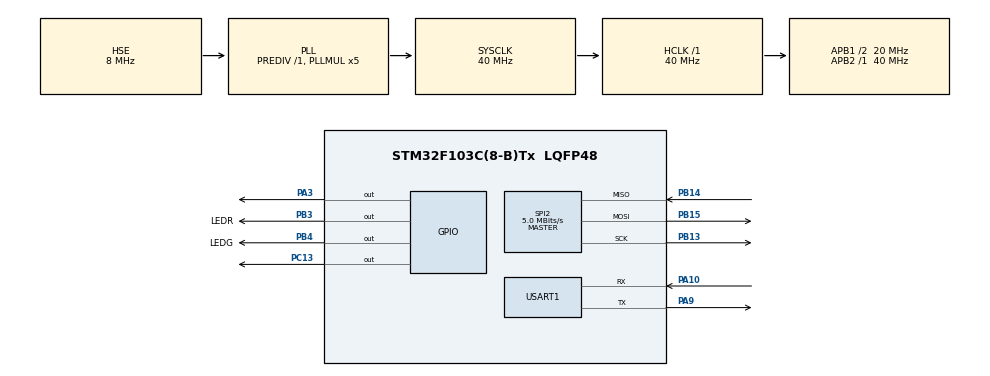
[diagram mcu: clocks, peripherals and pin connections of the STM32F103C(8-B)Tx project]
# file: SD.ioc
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Dma.Request0=USART1_RX
Dma.USART1_RX.0.Direction=DMA_PERIPH_TO_MEMORY
Dma.USART1_RX.0.Instance=DMA1_Channel5
Dma.USART1_RX.0.MemDataAlignment=DMA_MDATAALIGN_BYTE
Dma.USART1_RX.0.MemInc=DMA_MINC_ENABLE
Dma.USART1_RX.0.Mode=DMA_NORMAL
Dma.USART1_RX.0.PeriphDataAlignment=DMA_PDATAALIGN_BYTE
Dma.USART1_RX.0.PeriphInc=DMA_PINC_DISABLE
Dma.USART1_RX.0.Priority=DMA_PRIORITY_LOW
FATFS._MAX_SS=4096
FATFS._USE_LFN=1
Mcu.Family=STM32F1
Mcu.Name=STM32F103C(8-B)Tx
Mcu.Package=LQFP48
NVIC.DMA1_Channel5_IRQn=true\:0\:0\:false\:false\:true\:false\:true
NVIC.PriorityGroup=NVIC_PRIORITYGROUP_4
NVIC.TIM2_IRQn=true\:0\:0\:false\:false\:true\:true\:true
NVIC.USART1_IRQn=true\:0\:0\:false\:false\:true\:true\:true
PA10.Mode=Asynchronous
PA10.Signal=USART1_RX
PA13.Mode=Serial_Wire
PA13.Signal=SYS_JTMS-SWDIO
PA14.Mode=Serial_Wire
PA14.Signal=SYS_JTCK-SWCLK
PA3.GPIO_Speed=GPIO_SPEED_FREQ_MEDIUM
PA3.PinState=GPIO_PIN_RESET
PA3.Signal=GPIO_Output
PA9.Mode=Asynchronous
PA9.Signal=USART1_TX
PB13.Mode=Full_Duplex_Master
PB13.Signal=SPI2_SCK
PB14.Mode=Full_Duplex_Master
PB14.Signal=SPI2_MISO
PB15.Mode=Full_Duplex_Master
PB15.Signal=SPI2_MOSI
PB3.GPIO_Label=LEDR
PB3.Signal=GPIO_Output
PB4.GPIO_Label=LEDG
PB4.Signal=GPIO_Output
PC13-TAMPER-RTC.GPIO_Speed=GPIO_SPEED_FREQ_MEDIUM
PC13-TAMPER-RTC.Signal=GPIO_Output
PD0-OSC_IN.Mode=HSE-External-Oscillator
PD0-OSC_IN.Signal=RCC_OSC_IN
PD1-OSC_OUT.Mode=HSE-External-Oscillator
PD1-OSC_OUT.Signal=RCC_OSC_OUT
ProjectManager.HeapSize=0x200
ProjectManager.StackSize=0x400
ProjectManager.TargetToolchain=MDK-ARM V5
RCC.AHBFreq_Value=40000000
RCC.APB1CLKDivider=RCC_HCLK_DIV2
RCC.APB1Freq_Value=20000000
RCC.APB1TimFreq_Value=40000000
RCC.APB2Freq_Value=40000000
RCC.APB2TimFreq_Value=40000000
RCC.HCLKFreq_Value=40000000
RCC.PLLMUL=RCC_PLL_MUL5
RCC.PLLSourceVirtual=RCC_PLLSOURCE_HSE
RCC.SYSCLKFreq_VALUE=40000000
RCC.SYSCLKSource=RCC_SYSCLKSOURCE_PLLCLK
RCC.USBFreq_Value=40000000
SPI2.BaudRatePrescaler=SPI_BAUDRATEPRESCALER_4
SPI2.CalculateBaudRate=5.0 MBits/s
SPI2.Direction=SPI_DIRECTION_2LINES
SPI2.Mode=SPI_MODE_MASTER
SPI2.VirtualType=VM_MASTER
TIM2.Period=10
TIM2.Prescaler=39999
USART1.VirtualMode=VM_ASYNC
VP_FATFS_VS_Generic.Mode=User_defined
VP_TIM2_VS_ClockSourceINT.Mode=Internal
board=custom

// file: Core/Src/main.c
/* USER CODE BEGIN Header */
/**
  ******************************************************************************
  * @file           : main.c
  * @brief          : Main program body
  ******************************************************************************
  * @attention
  *
  * <h2><center>&copy; Copyright (c) 2021 STMicroelectronics.
  * All rights reserved.</center></h2>
  *
  * This software component is licensed by ST under Ultimate Liberty license
  * SLA0044, the "License"; You may not use this file except in compliance with
  * the License. You may obtain a copy of the License at:
  *                             www.st.com/SLA0044
  *
  ******************************************************************************
  */
/* USER CODE END Header */
#include "main.h"
#include "fatfs.h"

/* USER CODE BEGIN Includes */
#include "sd.h"
#include <string.h>
#include <stdlib.h>
#include <stdint.h>
#include <stdio.h>
/* USER CODE END Includes */

SPI_HandleTypeDef hspi2;

TIM_HandleTypeDef htim2;

UART_HandleTypeDef huart1;
DMA_HandleTypeDef hdma_usart1_rx;

/* USER CODE BEGIN PV */
volatile uint16_t Timer1=0;
uint8_t sect[32];
char buffer1[32] ="Helloworld"; //password
char str[32]={0};
/* USER CODE END PV */

void SystemClock_Config(void);
static void MX_GPIO_Init(void);
static void MX_DMA_Init(void);
static void MX_SPI2_Init(void);
static void MX_TIM2_Init(void);
static void MX_USART1_UART_Init(void);

int main(void)
{
  /* USER CODE BEGIN 1 */
uint16_t i,j;
	uint8_t m=0;

  /* USER CODE END 1 */

  /* MCU Configuration--------------------------------------------------------*/

  /* Reset of all peripherals, Initializes the Flash interface and the Systick. */
  HAL_Init();

  /* Configure the system clock */
  SystemClock_Config();

  /* Initialize all configured peripherals */
  MX_GPIO_Init();
  MX_DMA_Init();
  MX_SPI2_Init();
  MX_TIM2_Init();
  MX_USART1_UART_Init();
  MX_FATFS_Init();
  /* USER CODE BEGIN 2 */
HAL_TIM_Base_Start_IT(&htim2);
SD_PowerOn(); //
sd_ini(); //initialization
SD_Write_Block((uint8_t*)buffer1,0x0400); //write password to sd card
 SD_Read_Block(sect,0x0400); //read password from sd card
 //for(i=0;i<32;i++) HAL_UART_Transmit(&huart1,sect+i,1,-1); //show password in terminal
	//HAL_UART_Transmit(&huart1,(uint8_t*)"\r\n",2,-1);
	HAL_GPIO_WritePin(GPIOB, LEDG_Pin, GPIO_PIN_SET); //Green Led On
	HAL_UART_Transmit(&huart1,(uint8_t*)"Enter pass\r\n",10,-1); //Transmit to terminal
  /* USER CODE END 2 */

  /* Infinite loop */
  /* USER CODE BEGIN WHILE */
  while (1)
  {
		HAL_UART_Receive_IT(&huart1, (uint8_t*) str, 32); //Receive pass from terminal
		HAL_Delay(1000);
		m=0;
		if(str[0]!=0){ //if you write a pass
			m=2;
					for(i=0;i<32;i++){
				if(str[i]!=sect[i]){// compare terminal pass with the pass from sd card
					m=1;
				}
			}
		}

if (m==0){ //if no pass in terminal
HAL_GPIO_TogglePin(LEDR_GPIO_Port, LEDR_Pin);
HAL_GPIO_TogglePin(LEDG_GPIO_Port, LEDG_Pin);
HAL_Delay(1000);
}
if (m==1){//if pass are wrong
HAL_UART_Transmit(&huart1,(uint8_t*)"Bad\r\n",5,-1); //Transmit to terminal Bad
		HAL_GPIO_WritePin(GPIOB, LEDR_Pin, GPIO_PIN_SET);// turn on red led
	HAL_GPIO_WritePin(GPIOB, LEDG_Pin, GPIO_PIN_RESET);// turn off green led
}
if(m==2) {//if pass are right
	HAL_UART_Transmit(&huart1,(uint8_t*)"Good\r\n",6,-1);//Transmit to terminal Good
	HAL_GPIO_WritePin(GPIOB, LEDG_Pin, GPIO_PIN_SET);// turn on green led
	HAL_GPIO_WritePin(GPIOB, LEDR_Pin, GPIO_PIN_RESET);// turn off red led
}
		HAL_GPIO_TogglePin(GPIOC, GPIO_PIN_13);//toggle led on board
    /* USER CODE END WHILE */

  }
}

void SystemClock_Config(void)
{
  RCC_OscInitTypeDef RCC_OscInitStruct = {0};
  RCC_ClkInitTypeDef RCC_ClkInitStruct = {0};

  /** Initializes the RCC Oscillators according to the specified parameters
  * in the RCC_OscInitTypeDef structure.
  */
  RCC_OscInitStruct.OscillatorType = RCC_OSCILLATORTYPE_HSE;
  RCC_OscInitStruct.HSEState = RCC_HSE_ON;
  RCC_OscInitStruct.HSEPredivValue = RCC_HSE_PREDIV_DIV1;
  RCC_OscInitStruct.HSIState = RCC_HSI_ON;
  RCC_OscInitStruct.PLL.PLLState = RCC_PLL_ON;
  RCC_OscInitStruct.PLL.PLLSource = RCC_PLLSOURCE_HSE;
  RCC_OscInitStruct.PLL.PLLMUL = RCC_PLL_MUL5;
  if (HAL_RCC_OscConfig(&RCC_OscInitStruct) != HAL_OK)
  {
    Error_Handler();
  }
  /** Initializes the CPU, AHB and APB buses clocks
  */
  RCC_ClkInitStruct.ClockType = RCC_CLOCKTYPE_HCLK|RCC_CLOCKTYPE_SYSCLK
                              |RCC_CLOCKTYPE_PCLK1|RCC_CLOCKTYPE_PCLK2;
  RCC_ClkInitStruct.SYSCLKSource = RCC_SYSCLKSOURCE_PLLCLK;
  RCC_ClkInitStruct.AHBCLKDivider = RCC_SYSCLK_DIV1;
  RCC_ClkInitStruct.APB1CLKDivider = RCC_HCLK_DIV2;
  RCC_ClkInitStruct.APB2CLKDivider = RCC_HCLK_DIV1;

  if (HAL_RCC_ClockConfig(&RCC_ClkInitStruct, FLASH_LATENCY_1) != HAL_OK)
  {
    Error_Handler();
  }
}

static void MX_SPI2_Init(void)
{

  /* SPI2 parameter configuration*/
  hspi2.Instance = SPI2;
  hspi2.Init.Mode = SPI_MODE_MASTER;
  hspi2.Init.Direction = SPI_DIRECTION_2LINES;
  hspi2.Init.DataSize = SPI_DATASIZE_8BIT;
  hspi2.Init.CLKPolarity = SPI_POLARITY_LOW;
  hspi2.Init.CLKPhase = SPI_PHASE_1EDGE;
  hspi2.Init.NSS = SPI_NSS_SOFT;
  hspi2.Init.BaudRatePrescaler = SPI_BAUDRATEPRESCALER_4;
  hspi2.Init.FirstBit = SPI_FIRSTBIT_MSB;
  hspi2.Init.TIMode = SPI_TIMODE_DISABLE;
  hspi2.Init.CRCCalculation = SPI_CRCCALCULATION_DISABLE;
  hspi2.Init.CRCPolynomial = 10;
  if (HAL_SPI_Init(&hspi2) != HAL_OK)
  {
    Error_Handler();
  }

}

static void MX_TIM2_Init(void)
{

  TIM_ClockConfigTypeDef sClockSourceConfig = {0};
  TIM_MasterConfigTypeDef sMasterConfig = {0};

  htim2.Instance = TIM2;
  htim2.Init.Prescaler = 39999;
  htim2.Init.CounterMode = TIM_COUNTERMODE_UP;
  htim2.Init.Period = 10;
  htim2.Init.ClockDivision = TIM_CLOCKDIVISION_DIV1;
  htim2.Init.AutoReloadPreload = TIM_AUTORELOAD_PRELOAD_DISABLE;
  if (HAL_TIM_Base_Init(&htim2) != HAL_OK)
  {
    Error_Handler();
  }
  sClockSourceConfig.ClockSource = TIM_CLOCKSOURCE_INTERNAL;
  if (HAL_TIM_ConfigClockSource(&htim2, &sClockSourceConfig) != HAL_OK)
  {
    Error_Handler();
  }
  sMasterConfig.MasterOutputTrigger = TIM_TRGO_RESET;
  sMasterConfig.MasterSlaveMode = TIM_MASTERSLAVEMODE_DISABLE;
  if (HAL_TIMEx_MasterConfigSynchronization(&htim2, &sMasterConfig) != HAL_OK)
  {
    Error_Handler();
  }

}

static void MX_USART1_UART_Init(void)
{

  huart1.Instance = USART1;
  huart1.Init.BaudRate = 115200;
  huart1.Init.WordLength = UART_WORDLENGTH_8B;
  huart1.Init.StopBits = UART_STOPBITS_1;
  huart1.Init.Parity = UART_PARITY_NONE;
  huart1.Init.Mode = UART_MODE_TX_RX;
  huart1.Init.HwFlowCtl = UART_HWCONTROL_NONE;
  huart1.Init.OverSampling = UART_OVERSAMPLING_16;
  if (HAL_UART_Init(&huart1) != HAL_OK)
  {
    Error_Handler();
  }

}

static void MX_DMA_Init(void)
{

  /* DMA controller clock enable */
  __HAL_RCC_DMA1_CLK_ENABLE();

  /* DMA interrupt init */
  /* DMA1_Channel5_IRQn interrupt configuration */
  HAL_NVIC_SetPriority(DMA1_Channel5_IRQn, 0, 0);
  HAL_NVIC_EnableIRQ(DMA1_Channel5_IRQn);

}

static void MX_GPIO_Init(void)
{
  GPIO_InitTypeDef GPIO_InitStruct = {0};

  /* GPIO Ports Clock Enable */
  __HAL_RCC_GPIOC_CLK_ENABLE();
  __HAL_RCC_GPIOD_CLK_ENABLE();
  __HAL_RCC_GPIOA_CLK_ENABLE();
  __HAL_RCC_GPIOB_CLK_ENABLE();

  /*Configure GPIO pin Output Level */
  HAL_GPIO_WritePin(GPIOC, GPIO_PIN_13, GPIO_PIN_RESET);

  /*Configure GPIO pin Output Level */
  HAL_GPIO_WritePin(GPIOA, GPIO_PIN_3, GPIO_PIN_RESET);

  /*Configure GPIO pin Output Level */
  HAL_GPIO_WritePin(GPIOB, LEDR_Pin|LEDG_Pin, GPIO_PIN_RESET);

  /*Configure GPIO pin : PC13 */
  GPIO_InitStruct.Pin = GPIO_PIN_13;
  GPIO_InitStruct.Mode = GPIO_MODE_OUTPUT_PP;
  GPIO_InitStruct.Pull = GPIO_NOPULL;
  GPIO_InitStruct.Speed = GPIO_SPEED_FREQ_MEDIUM;
  HAL_GPIO_Init(GPIOC, &GPIO_InitStruct);

  /*Configure GPIO pin : PA3 */
  GPIO_InitStruct.Pin = GPIO_PIN_3;
  GPIO_InitStruct.Mode = GPIO_MODE_OUTPUT_PP;
  GPIO_InitStruct.Pull = GPIO_NOPULL;
  GPIO_InitStruct.Speed = GPIO_SPEED_FREQ_MEDIUM;
  HAL_GPIO_Init(GPIOA, &GPIO_InitStruct);

  /*Configure GPIO pins : LEDR_Pin LEDG_Pin */
  GPIO_InitStruct.Pin = LEDR_Pin|LEDG_Pin;
  GPIO_InitStruct.Mode = GPIO_MODE_OUTPUT_PP;
  GPIO_InitStruct.Pull = GPIO_NOPULL;
  GPIO_InitStruct.Speed = GPIO_SPEED_FREQ_LOW;
  HAL_GPIO_Init(GPIOB, &GPIO_InitStruct);

}

/* USER CODE BEGIN 4 */
//----------------------------------------------------------

void HAL_TIM_PeriodElapsedCallback(TIM_HandleTypeDef *htim)

{

if(htim==&htim2)

{

Timer1++;

}

}

//----------------------------------------------------------
/* USER CODE END 4 */

void Error_Handler(void)
{
  __disable_irq();
  while (1)
  {
  }
}

/************************ (C) COPYRIGHT STMicroelectronics *****END OF FILE****/
